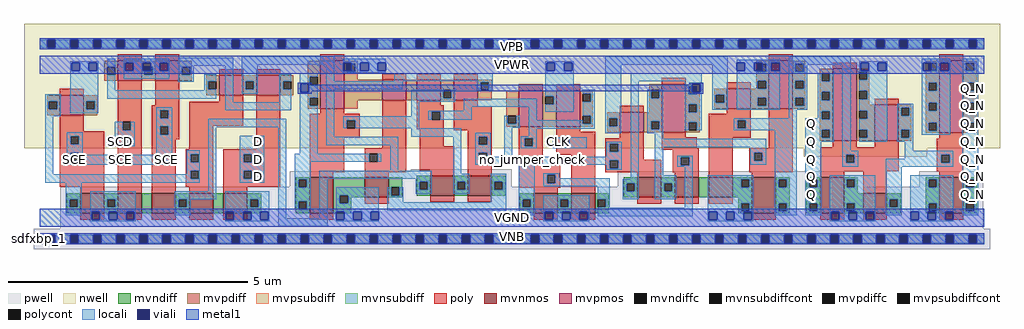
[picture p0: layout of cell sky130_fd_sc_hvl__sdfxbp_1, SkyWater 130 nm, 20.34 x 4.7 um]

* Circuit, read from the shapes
.subckt sky130_fd_sc_hvl__sdfxbp_1 CLK D SCD SCE VGND VNB VPB VPWR Q Q_N
XM1 VGND SCE n1 VNB sky130_fd_pr__nfet_g5v0d10v5 w=0.42 l=0.5
XM2 n2 SCD VGND VNB sky130_fd_pr__nfet_g5v0d10v5 w=0.42 l=0.5
XM3 n3 SCE n2 VNB sky130_fd_pr__nfet_g5v0d10v5 w=0.42 l=0.5
XM4 n4 n1 n3 VNB sky130_fd_pr__nfet_g5v0d10v5 w=0.42 l=0.5
XM5 VGND D n4 VNB sky130_fd_pr__nfet_g5v0d10v5 w=0.42 l=0.5
XM6 VGND n5 n6 VNB sky130_fd_pr__nfet_g5v0d10v5 w=0.75 l=0.5
XM7 n7 n6 VGND VNB sky130_fd_pr__nfet_g5v0d10v5 w=0.42 l=0.5
XM8 n5 n8 n3 VNB sky130_fd_pr__nfet_g5v0d10v5 w=0.42 l=0.5
XM9 n7 n9 n5 VNB sky130_fd_pr__nfet_g5v0d10v5 w=0.42 l=0.5
XM10 VGND n8 n9 VNB sky130_fd_pr__nfet_g5v0d10v5 w=0.42 l=0.5
XM11 n8 CLK VGND VNB sky130_fd_pr__nfet_g5v0d10v5 w=0.42 l=0.5
XM12 n10 n9 n6 VNB sky130_fd_pr__nfet_g5v0d10v5 w=0.42 l=0.5
XM13 n11 n8 n10 VNB sky130_fd_pr__nfet_g5v0d10v5 w=0.42 l=0.5
XM14 VGND n12 n11 VNB sky130_fd_pr__nfet_g5v0d10v5 w=0.42 l=0.5
XM15 n12 n10 VGND VNB sky130_fd_pr__nfet_g5v0d10v5 w=0.75 l=0.5
XM16 VGND n12 Q VNB sky130_fd_pr__nfet_g5v0d10v5 w=0.75 l=0.5
XM17 n13 n12 VGND VNB sky130_fd_pr__nfet_g5v0d10v5 w=0.42 l=0.5
XM18 Q_N n13 VGND VNB sky130_fd_pr__nfet_g5v0d10v5 w=0.75 l=0.5
XM19 VPWR SCE n1 VPB sky130_fd_pr__pfet_g5v0d10v5 w=0.42 l=0.5
XM20 VPWR SCD n14 VPB sky130_fd_pr__pfet_g5v0d10v5 w=0.42 l=0.5
XM21 n15 SCE VPWR VPB sky130_fd_pr__pfet_g5v0d10v5 w=0.42 l=0.5
XM22 n3 n1 n14 VPB sky130_fd_pr__pfet_g5v0d10v5 w=0.42 l=0.5
XM23 n15 D n3 VPB sky130_fd_pr__pfet_g5v0d10v5 w=0.42 l=0.5
XM24 VPWR n5 n6 VPB sky130_fd_pr__pfet_g5v0d10v5 w=1 l=0.5
XM25 n16 n6 VPWR VPB sky130_fd_pr__pfet_g5v0d10v5 w=0.42 l=0.5
XM26 n5 n8 n16 VPB sky130_fd_pr__pfet_g5v0d10v5 w=0.42 l=0.5
XM27 n3 n9 n5 VPB sky130_fd_pr__pfet_g5v0d10v5 w=0.42 l=0.5
XM28 VPWR n8 n9 VPB sky130_fd_pr__pfet_g5v0d10v5 w=0.75 l=0.5
XM29 n8 CLK VPWR VPB sky130_fd_pr__pfet_g5v0d10v5 w=0.75 l=0.5
XM30 n10 n9 n17 VPB sky130_fd_pr__pfet_g5v0d10v5 w=0.42 l=0.5
XM31 n6 n8 n10 VPB sky130_fd_pr__pfet_g5v0d10v5 w=1 l=0.5
XM32 VPWR n12 n17 VPB sky130_fd_pr__pfet_g5v0d10v5 w=0.42 l=0.5
XM33 n12 n10 VPWR VPB sky130_fd_pr__pfet_g5v0d10v5 w=1 l=0.5
XM34 VPWR n12 Q VPB sky130_fd_pr__pfet_g5v0d10v5 w=1.5 l=0.5
XM35 n13 n12 VPWR VPB sky130_fd_pr__pfet_g5v0d10v5 w=0.75 l=0.5
XM36 Q_N n13 VPWR VPB sky130_fd_pr__pfet_g5v0d10v5 w=1.5 l=0.5
.ends

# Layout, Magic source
magic
tech sky130B
magscale 1 2
<< nwell >>
rect -66 377 4002 897
rect 3185 343 3698 377
<< pwell >>
rect 1545 283 1967 290
rect 1041 217 1967 283
rect 2408 217 3435 283
rect 3666 217 3932 283
rect 86 43 3932 217
rect -26 -43 3962 43
<< mvnmos >>
rect 169 107 269 191
rect 325 107 425 191
rect 467 107 567 191
rect 623 107 723 191
rect 765 107 865 191
rect 1124 107 1224 257
rect 1354 173 1454 257
rect 1628 180 1728 264
rect 1784 180 1884 264
rect 2058 107 2158 191
rect 2214 107 2314 191
rect 2491 173 2591 257
rect 2647 173 2747 257
rect 2789 173 2889 257
rect 2968 107 3068 257
rect 3252 107 3352 257
rect 3431 107 3531 191
rect 3749 107 3849 257
<< mvpmos >>
rect 325 659 425 743
rect 481 659 581 743
rect 83 515 183 599
rect 747 598 847 682
rect 903 598 1003 682
rect 1169 543 1269 743
rect 1428 579 1528 663
rect 1570 579 1670 663
rect 1726 579 1826 663
rect 1996 468 2096 618
rect 2152 468 2252 618
rect 2418 445 2518 529
rect 2593 445 2693 645
rect 2863 543 2963 627
rect 3038 543 3138 743
rect 3304 409 3404 709
rect 3479 409 3579 559
rect 3749 443 3849 743
<< mvndiff >>
rect 1067 249 1124 257
rect 1067 215 1079 249
rect 1113 215 1124 249
rect 112 166 169 191
rect 112 132 124 166
rect 158 132 169 166
rect 112 107 169 132
rect 269 166 325 191
rect 269 132 280 166
rect 314 132 325 166
rect 269 107 325 132
rect 425 107 467 191
rect 567 166 623 191
rect 567 132 578 166
rect 612 132 623 166
rect 567 107 623 132
rect 723 107 765 191
rect 865 166 922 191
rect 865 132 876 166
rect 910 132 922 166
rect 865 107 922 132
rect 1067 157 1124 215
rect 1067 123 1079 157
rect 1113 123 1124 157
rect 1067 107 1124 123
rect 1224 182 1354 257
rect 1224 148 1251 182
rect 1285 173 1354 182
rect 1454 215 1511 257
rect 1454 181 1465 215
rect 1499 181 1511 215
rect 1454 173 1511 181
rect 1571 239 1628 264
rect 1571 205 1583 239
rect 1617 205 1628 239
rect 1571 180 1628 205
rect 1728 239 1784 264
rect 1728 205 1739 239
rect 1773 205 1784 239
rect 1728 180 1784 205
rect 1884 239 1941 264
rect 1884 205 1895 239
rect 1929 205 1941 239
rect 1884 180 1941 205
rect 2434 232 2491 257
rect 2434 198 2446 232
rect 2480 198 2491 232
rect 1285 148 1297 173
rect 1224 107 1297 148
rect 2001 166 2058 191
rect 2001 132 2013 166
rect 2047 132 2058 166
rect 2001 107 2058 132
rect 2158 166 2214 191
rect 2158 132 2169 166
rect 2203 132 2214 166
rect 2158 107 2214 132
rect 2314 166 2371 191
rect 2434 173 2491 198
rect 2591 232 2647 257
rect 2591 198 2602 232
rect 2636 198 2647 232
rect 2591 173 2647 198
rect 2747 173 2789 257
rect 2889 249 2968 257
rect 2889 215 2923 249
rect 2957 215 2968 249
rect 2889 173 2968 215
rect 2314 132 2325 166
rect 2359 132 2371 166
rect 2911 149 2968 173
rect 2314 107 2371 132
rect 2911 115 2923 149
rect 2957 115 2968 149
rect 2911 107 2968 115
rect 3068 249 3125 257
rect 3068 215 3079 249
rect 3113 215 3125 249
rect 3068 149 3125 215
rect 3068 115 3079 149
rect 3113 115 3125 149
rect 3068 107 3125 115
rect 3195 249 3252 257
rect 3195 215 3207 249
rect 3241 215 3252 249
rect 3195 149 3252 215
rect 3195 115 3207 149
rect 3241 115 3252 149
rect 3195 107 3252 115
rect 3352 249 3409 257
rect 3352 215 3363 249
rect 3397 215 3409 249
rect 3352 191 3409 215
rect 3692 249 3749 257
rect 3692 215 3704 249
rect 3738 215 3749 249
rect 3352 149 3431 191
rect 3352 115 3363 149
rect 3397 115 3431 149
rect 3352 107 3431 115
rect 3531 166 3588 191
rect 3531 132 3542 166
rect 3576 132 3588 166
rect 3531 107 3588 132
rect 3692 149 3749 215
rect 3692 115 3704 149
rect 3738 115 3749 149
rect 3692 107 3749 115
rect 3849 249 3906 257
rect 3849 215 3860 249
rect 3894 215 3906 249
rect 3849 149 3906 215
rect 3849 115 3860 149
rect 3894 115 3906 149
rect 3849 107 3906 115
<< mvpdiff >>
rect 268 718 325 743
rect 268 684 280 718
rect 314 684 325 718
rect 268 659 325 684
rect 425 718 481 743
rect 425 684 436 718
rect 470 684 481 718
rect 425 659 481 684
rect 581 718 634 743
rect 581 684 592 718
rect 626 684 634 718
rect 581 659 634 684
rect 30 574 83 599
rect 30 540 38 574
rect 72 540 83 574
rect 30 515 83 540
rect 183 574 240 599
rect 183 540 194 574
rect 228 540 240 574
rect 183 515 240 540
rect 694 657 747 682
rect 694 623 702 657
rect 736 623 747 657
rect 694 598 747 623
rect 847 657 903 682
rect 847 623 858 657
rect 892 623 903 657
rect 847 598 903 623
rect 1003 657 1056 682
rect 1003 623 1014 657
rect 1048 623 1056 657
rect 1003 598 1056 623
rect 1116 675 1169 743
rect 1116 641 1124 675
rect 1158 641 1169 675
rect 1116 589 1169 641
rect 1116 555 1124 589
rect 1158 555 1169 589
rect 1116 543 1169 555
rect 1269 731 1326 743
rect 1269 697 1280 731
rect 1314 697 1326 731
rect 1269 663 1326 697
rect 2985 731 3038 743
rect 2985 697 2993 731
rect 3027 697 3038 731
rect 1269 579 1428 663
rect 1528 579 1570 663
rect 1670 621 1726 663
rect 1670 587 1681 621
rect 1715 587 1726 621
rect 1670 579 1726 587
rect 1826 654 1883 663
rect 1826 620 1837 654
rect 1871 620 1883 654
rect 2985 660 3038 697
rect 1826 579 1883 620
rect 2540 621 2593 645
rect 1269 543 1326 579
rect 1943 514 1996 618
rect 1943 480 1951 514
rect 1985 480 1996 514
rect 1943 468 1996 480
rect 2096 595 2152 618
rect 2096 561 2107 595
rect 2141 561 2152 595
rect 2096 468 2152 561
rect 2252 606 2305 618
rect 2252 572 2263 606
rect 2297 572 2305 606
rect 2252 514 2305 572
rect 2540 587 2548 621
rect 2582 587 2593 621
rect 2540 529 2593 587
rect 2252 480 2263 514
rect 2297 480 2305 514
rect 2252 468 2305 480
rect 2365 504 2418 529
rect 2365 470 2373 504
rect 2407 470 2418 504
rect 2365 445 2418 470
rect 2518 491 2593 529
rect 2518 457 2548 491
rect 2582 457 2593 491
rect 2518 445 2593 457
rect 2693 637 2750 645
rect 2693 603 2704 637
rect 2738 603 2750 637
rect 2985 627 2993 660
rect 2693 562 2750 603
rect 2693 528 2704 562
rect 2738 528 2750 562
rect 2810 602 2863 627
rect 2810 568 2818 602
rect 2852 568 2863 602
rect 2810 543 2863 568
rect 2963 626 2993 627
rect 3027 626 3038 660
rect 2963 589 3038 626
rect 2963 555 2993 589
rect 3027 555 3038 589
rect 2963 543 3038 555
rect 3138 731 3191 743
rect 3692 735 3749 743
rect 3138 697 3149 731
rect 3183 697 3191 731
rect 3138 660 3191 697
rect 3138 626 3149 660
rect 3183 626 3191 660
rect 3138 589 3191 626
rect 3138 555 3149 589
rect 3183 555 3191 589
rect 3138 543 3191 555
rect 3251 691 3304 709
rect 3251 657 3259 691
rect 3293 657 3304 691
rect 3251 613 3304 657
rect 3251 579 3259 613
rect 3293 579 3304 613
rect 2693 487 2750 528
rect 2693 453 2704 487
rect 2738 453 2750 487
rect 2693 445 2750 453
rect 3251 533 3304 579
rect 3251 499 3259 533
rect 3293 499 3304 533
rect 3251 455 3304 499
rect 3251 421 3259 455
rect 3293 421 3304 455
rect 3251 409 3304 421
rect 3404 697 3457 709
rect 3404 663 3415 697
rect 3449 663 3457 697
rect 3404 617 3457 663
rect 3404 583 3415 617
rect 3449 583 3457 617
rect 3692 701 3704 735
rect 3738 701 3749 735
rect 3692 652 3749 701
rect 3692 618 3704 652
rect 3738 618 3749 652
rect 3404 559 3457 583
rect 3692 568 3749 618
rect 3404 535 3479 559
rect 3404 501 3415 535
rect 3449 501 3479 535
rect 3404 455 3479 501
rect 3404 421 3415 455
rect 3449 421 3479 455
rect 3404 409 3479 421
rect 3579 547 3632 559
rect 3579 513 3590 547
rect 3624 513 3632 547
rect 3579 455 3632 513
rect 3579 421 3590 455
rect 3624 421 3632 455
rect 3692 534 3704 568
rect 3738 534 3749 568
rect 3692 485 3749 534
rect 3692 451 3704 485
rect 3738 451 3749 485
rect 3692 443 3749 451
rect 3849 735 3906 743
rect 3849 701 3860 735
rect 3894 701 3906 735
rect 3849 652 3906 701
rect 3849 618 3860 652
rect 3894 618 3906 652
rect 3849 568 3906 618
rect 3849 534 3860 568
rect 3894 534 3906 568
rect 3849 485 3906 534
rect 3849 451 3860 485
rect 3894 451 3906 485
rect 3849 443 3906 451
rect 3579 409 3632 421
<< mvndiffc >>
rect 1079 215 1113 249
rect 124 132 158 166
rect 280 132 314 166
rect 578 132 612 166
rect 876 132 910 166
rect 1079 123 1113 157
rect 1251 148 1285 182
rect 1465 181 1499 215
rect 1583 205 1617 239
rect 1739 205 1773 239
rect 1895 205 1929 239
rect 2446 198 2480 232
rect 2013 132 2047 166
rect 2169 132 2203 166
rect 2602 198 2636 232
rect 2923 215 2957 249
rect 2325 132 2359 166
rect 2923 115 2957 149
rect 3079 215 3113 249
rect 3079 115 3113 149
rect 3207 215 3241 249
rect 3207 115 3241 149
rect 3363 215 3397 249
rect 3704 215 3738 249
rect 3363 115 3397 149
rect 3542 132 3576 166
rect 3704 115 3738 149
rect 3860 215 3894 249
rect 3860 115 3894 149
<< mvpdiffc >>
rect 280 684 314 718
rect 436 684 470 718
rect 592 684 626 718
rect 38 540 72 574
rect 194 540 228 574
rect 702 623 736 657
rect 858 623 892 657
rect 1014 623 1048 657
rect 1124 641 1158 675
rect 1124 555 1158 589
rect 1280 697 1314 731
rect 2993 697 3027 731
rect 1681 587 1715 621
rect 1837 620 1871 654
rect 1951 480 1985 514
rect 2107 561 2141 595
rect 2263 572 2297 606
rect 2548 587 2582 621
rect 2263 480 2297 514
rect 2373 470 2407 504
rect 2548 457 2582 491
rect 2704 603 2738 637
rect 2704 528 2738 562
rect 2818 568 2852 602
rect 2993 626 3027 660
rect 2993 555 3027 589
rect 3149 697 3183 731
rect 3149 626 3183 660
rect 3149 555 3183 589
rect 3259 657 3293 691
rect 3259 579 3293 613
rect 2704 453 2738 487
rect 3259 499 3293 533
rect 3259 421 3293 455
rect 3415 663 3449 697
rect 3415 583 3449 617
rect 3704 701 3738 735
rect 3704 618 3738 652
rect 3415 501 3449 535
rect 3415 421 3449 455
rect 3590 513 3624 547
rect 3590 421 3624 455
rect 3704 534 3738 568
rect 3704 451 3738 485
rect 3860 701 3894 735
rect 3860 618 3894 652
rect 3860 534 3894 568
rect 3860 451 3894 485
<< mvpsubdiff >>
rect 0 -17 31 17
rect 65 -17 127 17
rect 161 -17 223 17
rect 257 -17 319 17
rect 353 -17 415 17
rect 449 -17 511 17
rect 545 -17 607 17
rect 641 -17 703 17
rect 737 -17 799 17
rect 833 -17 895 17
rect 929 -17 991 17
rect 1025 -17 1087 17
rect 1121 -17 1183 17
rect 1217 -17 1279 17
rect 1313 -17 1375 17
rect 1409 -17 1471 17
rect 1505 -17 1567 17
rect 1601 -17 1663 17
rect 1697 -17 1759 17
rect 1793 -17 1855 17
rect 1889 -17 1951 17
rect 1985 -17 2047 17
rect 2081 -17 2143 17
rect 2177 -17 2239 17
rect 2273 -17 2335 17
rect 2369 -17 2431 17
rect 2465 -17 2527 17
rect 2561 -17 2623 17
rect 2657 -17 2719 17
rect 2753 -17 2815 17
rect 2849 -17 2911 17
rect 2945 -17 3007 17
rect 3041 -17 3103 17
rect 3137 -17 3199 17
rect 3233 -17 3295 17
rect 3329 -17 3391 17
rect 3425 -17 3487 17
rect 3521 -17 3583 17
rect 3617 -17 3679 17
rect 3713 -17 3775 17
rect 3809 -17 3871 17
rect 3905 -17 3936 17
<< mvnsubdiff >>
rect 0 797 31 831
rect 65 797 127 831
rect 161 797 223 831
rect 257 797 319 831
rect 353 797 415 831
rect 449 797 511 831
rect 545 797 607 831
rect 641 797 703 831
rect 737 797 799 831
rect 833 797 895 831
rect 929 797 991 831
rect 1025 797 1087 831
rect 1121 797 1183 831
rect 1217 797 1279 831
rect 1313 797 1375 831
rect 1409 797 1471 831
rect 1505 797 1567 831
rect 1601 797 1663 831
rect 1697 797 1759 831
rect 1793 797 1855 831
rect 1889 797 1951 831
rect 1985 797 2047 831
rect 2081 797 2143 831
rect 2177 797 2239 831
rect 2273 797 2335 831
rect 2369 797 2431 831
rect 2465 797 2527 831
rect 2561 797 2623 831
rect 2657 797 2719 831
rect 2753 797 2815 831
rect 2849 797 2911 831
rect 2945 797 3007 831
rect 3041 797 3103 831
rect 3137 797 3199 831
rect 3233 797 3295 831
rect 3329 797 3391 831
rect 3425 797 3487 831
rect 3521 797 3583 831
rect 3617 797 3679 831
rect 3713 797 3775 831
rect 3809 797 3871 831
rect 3905 797 3936 831
<< mvpsubdiffcont >>
rect 31 -17 65 17
rect 127 -17 161 17
rect 223 -17 257 17
rect 319 -17 353 17
rect 415 -17 449 17
rect 511 -17 545 17
rect 607 -17 641 17
rect 703 -17 737 17
rect 799 -17 833 17
rect 895 -17 929 17
rect 991 -17 1025 17
rect 1087 -17 1121 17
rect 1183 -17 1217 17
rect 1279 -17 1313 17
rect 1375 -17 1409 17
rect 1471 -17 1505 17
rect 1567 -17 1601 17
rect 1663 -17 1697 17
rect 1759 -17 1793 17
rect 1855 -17 1889 17
rect 1951 -17 1985 17
rect 2047 -17 2081 17
rect 2143 -17 2177 17
rect 2239 -17 2273 17
rect 2335 -17 2369 17
rect 2431 -17 2465 17
rect 2527 -17 2561 17
rect 2623 -17 2657 17
rect 2719 -17 2753 17
rect 2815 -17 2849 17
rect 2911 -17 2945 17
rect 3007 -17 3041 17
rect 3103 -17 3137 17
rect 3199 -17 3233 17
rect 3295 -17 3329 17
rect 3391 -17 3425 17
rect 3487 -17 3521 17
rect 3583 -17 3617 17
rect 3679 -17 3713 17
rect 3775 -17 3809 17
rect 3871 -17 3905 17
<< mvnsubdiffcont >>
rect 31 797 65 831
rect 127 797 161 831
rect 223 797 257 831
rect 319 797 353 831
rect 415 797 449 831
rect 511 797 545 831
rect 607 797 641 831
rect 703 797 737 831
rect 799 797 833 831
rect 895 797 929 831
rect 991 797 1025 831
rect 1087 797 1121 831
rect 1183 797 1217 831
rect 1279 797 1313 831
rect 1375 797 1409 831
rect 1471 797 1505 831
rect 1567 797 1601 831
rect 1663 797 1697 831
rect 1759 797 1793 831
rect 1855 797 1889 831
rect 1951 797 1985 831
rect 2047 797 2081 831
rect 2143 797 2177 831
rect 2239 797 2273 831
rect 2335 797 2369 831
rect 2431 797 2465 831
rect 2527 797 2561 831
rect 2623 797 2657 831
rect 2719 797 2753 831
rect 2815 797 2849 831
rect 2911 797 2945 831
rect 3007 797 3041 831
rect 3103 797 3137 831
rect 3199 797 3233 831
rect 3295 797 3329 831
rect 3391 797 3425 831
rect 3487 797 3521 831
rect 3583 797 3617 831
rect 3679 797 3713 831
rect 3775 797 3809 831
rect 3871 797 3905 831
<< poly >>
rect 325 743 425 769
rect 481 743 581 769
rect 1169 743 1269 769
rect 3038 743 3138 769
rect 3749 743 3849 769
rect 747 682 847 708
rect 903 682 1003 708
rect 83 599 183 625
rect 83 448 183 515
rect 325 488 425 659
rect 481 557 581 659
rect 747 572 847 598
rect 325 454 345 488
rect 379 454 425 488
rect 83 428 269 448
rect 83 394 129 428
rect 163 394 269 428
rect 83 360 269 394
rect 83 326 129 360
rect 163 326 269 360
rect 83 217 269 326
rect 169 191 269 217
rect 325 420 425 454
rect 325 386 345 420
rect 379 386 425 420
rect 325 191 425 386
rect 467 537 581 557
rect 467 503 501 537
rect 535 503 581 537
rect 467 469 581 503
rect 467 435 501 469
rect 535 435 581 469
rect 467 415 581 435
rect 623 472 847 572
rect 467 191 567 415
rect 623 373 723 472
rect 903 373 1003 598
rect 1428 663 1528 689
rect 1570 663 1670 689
rect 1726 663 1826 689
rect 2593 645 2693 671
rect 1996 618 2096 644
rect 2152 618 2252 644
rect 1169 521 1269 543
rect 609 353 723 373
rect 609 319 629 353
rect 663 319 723 353
rect 609 285 723 319
rect 609 251 629 285
rect 663 251 723 285
rect 609 217 723 251
rect 623 191 723 217
rect 765 353 1003 373
rect 765 319 849 353
rect 883 319 1003 353
rect 765 285 1003 319
rect 765 251 849 285
rect 883 251 1003 285
rect 1124 495 1334 521
rect 1124 461 1280 495
rect 1314 461 1334 495
rect 1124 421 1334 461
rect 1124 279 1269 421
rect 1428 379 1528 579
rect 1570 557 1670 579
rect 1570 531 1684 557
rect 1570 497 1634 531
rect 1668 497 1684 531
rect 1570 457 1684 497
rect 1354 355 1528 379
rect 1354 321 1374 355
rect 1408 321 1528 355
rect 1354 279 1528 321
rect 1584 386 1684 457
rect 1726 553 1826 579
rect 1726 453 1884 553
rect 2418 529 2518 555
rect 1784 427 1884 453
rect 1784 393 1830 427
rect 1864 393 1884 427
rect 1584 286 1728 386
rect 1124 257 1224 279
rect 1354 257 1454 279
rect 1628 264 1728 286
rect 1784 359 1884 393
rect 1784 325 1830 359
rect 1864 325 1884 359
rect 1784 264 1884 325
rect 1996 420 2096 468
rect 1996 386 2021 420
rect 2055 386 2096 420
rect 1996 309 2096 386
rect 2152 446 2252 468
rect 2152 419 2314 446
rect 2863 627 2963 653
rect 3304 709 3404 735
rect 2863 521 2963 543
rect 2789 495 2963 521
rect 2789 461 2909 495
rect 2943 461 2963 495
rect 2418 419 2518 445
rect 2152 385 2172 419
rect 2206 385 2314 419
rect 2152 351 2314 385
rect 1996 267 2169 309
rect 765 217 1003 251
rect 765 191 865 217
rect 1996 233 2115 267
rect 2149 233 2169 267
rect 1996 213 2169 233
rect 2058 191 2158 213
rect 2214 191 2314 351
rect 2356 397 2518 419
rect 2356 363 2376 397
rect 2410 363 2518 397
rect 2593 423 2693 445
rect 2593 379 2739 423
rect 2789 421 2963 461
rect 2593 372 2747 379
rect 2356 330 2518 363
rect 2639 341 2747 372
rect 2356 329 2591 330
rect 2356 295 2376 329
rect 2410 295 2591 329
rect 2356 279 2591 295
rect 2639 307 2672 341
rect 2706 307 2747 341
rect 2639 279 2747 307
rect 2491 257 2591 279
rect 2647 257 2747 279
rect 2789 257 2889 421
rect 3038 379 3138 543
rect 3479 559 3579 585
rect 3749 417 3849 443
rect 3304 383 3404 409
rect 3479 383 3579 409
rect 2957 359 3138 379
rect 2957 325 2977 359
rect 3011 325 3138 359
rect 2957 279 3138 325
rect 3252 351 3579 383
rect 3252 317 3361 351
rect 3395 317 3579 351
rect 3252 283 3579 317
rect 3738 351 3849 417
rect 3738 317 3758 351
rect 3792 317 3849 351
rect 3738 283 3849 317
rect 2968 257 3068 279
rect 3252 257 3352 283
rect 1354 147 1454 173
rect 1628 154 1728 180
rect 1784 154 1884 180
rect 2491 147 2591 173
rect 2647 147 2747 173
rect 2789 147 2889 173
rect 3431 191 3531 283
rect 3749 257 3849 283
rect 169 81 269 107
rect 325 81 425 107
rect 467 81 567 107
rect 623 81 723 107
rect 765 81 865 107
rect 1124 81 1224 107
rect 2058 81 2158 107
rect 2214 81 2314 107
rect 2968 81 3068 107
rect 3252 81 3352 107
rect 3431 81 3531 107
rect 3749 81 3849 107
<< polycont >>
rect 345 454 379 488
rect 129 394 163 428
rect 129 326 163 360
rect 345 386 379 420
rect 501 503 535 537
rect 501 435 535 469
rect 629 319 663 353
rect 629 251 663 285
rect 849 319 883 353
rect 849 251 883 285
rect 1280 461 1314 495
rect 1634 497 1668 531
rect 1374 321 1408 355
rect 1830 393 1864 427
rect 1830 325 1864 359
rect 2021 386 2055 420
rect 2909 461 2943 495
rect 2172 385 2206 419
rect 2115 233 2149 267
rect 2376 363 2410 397
rect 2376 295 2410 329
rect 2672 307 2706 341
rect 2977 325 3011 359
rect 3361 317 3395 351
rect 3758 317 3792 351
<< locali >>
rect 0 797 31 831
rect 65 797 127 831
rect 161 797 223 831
rect 257 797 319 831
rect 353 797 415 831
rect 449 797 511 831
rect 545 797 607 831
rect 641 797 703 831
rect 737 797 799 831
rect 833 797 895 831
rect 929 797 991 831
rect 1025 797 1087 831
rect 1121 797 1183 831
rect 1217 797 1279 831
rect 1313 797 1375 831
rect 1409 797 1471 831
rect 1505 797 1567 831
rect 1601 797 1663 831
rect 1697 797 1759 831
rect 1793 797 1855 831
rect 1889 797 1951 831
rect 1985 797 2047 831
rect 2081 797 2143 831
rect 2177 797 2239 831
rect 2273 797 2335 831
rect 2369 797 2431 831
rect 2465 797 2527 831
rect 2561 797 2623 831
rect 2657 797 2719 831
rect 2753 797 2815 831
rect 2849 797 2911 831
rect 2945 797 3007 831
rect 3041 797 3103 831
rect 3137 797 3199 831
rect 3233 797 3295 831
rect 3329 797 3391 831
rect 3425 797 3487 831
rect 3521 797 3583 831
rect 3617 797 3679 831
rect 3713 797 3775 831
rect 3809 797 3871 831
rect 3905 797 3936 831
rect 126 735 244 741
rect 126 701 132 735
rect 166 701 204 735
rect 238 701 244 735
rect 22 574 88 603
rect 22 540 38 574
rect 72 540 88 574
rect 22 511 88 540
rect 126 574 244 701
rect 280 718 314 751
rect 280 619 314 684
rect 350 735 540 751
rect 350 701 356 735
rect 390 701 428 735
rect 462 718 500 735
rect 470 701 500 718
rect 534 701 540 735
rect 350 684 436 701
rect 470 684 540 701
rect 350 667 540 684
rect 576 722 806 756
rect 576 718 642 722
rect 576 684 592 718
rect 626 684 642 718
rect 576 655 642 684
rect 686 657 736 686
rect 686 623 702 657
rect 686 619 736 623
rect 280 585 736 619
rect 126 540 194 574
rect 228 540 244 574
rect 772 570 806 722
rect 842 727 1228 761
rect 842 657 908 727
rect 842 623 858 657
rect 892 623 908 657
rect 842 606 908 623
rect 998 657 1048 686
rect 998 623 1014 657
rect 998 570 1048 623
rect 126 524 244 540
rect 485 537 551 549
rect 22 269 56 511
rect 485 503 501 537
rect 535 503 551 537
rect 772 536 1048 570
rect 1084 675 1158 691
rect 1084 646 1124 675
rect 1084 612 1087 646
rect 1121 641 1124 646
rect 1121 612 1158 641
rect 1084 589 1158 612
rect 1084 555 1124 589
rect 313 454 345 488
rect 379 454 395 488
rect 113 428 179 444
rect 113 394 129 428
rect 163 394 179 428
rect 113 360 179 394
rect 313 420 395 454
rect 313 386 345 420
rect 379 386 395 420
rect 485 469 551 503
rect 485 435 501 469
rect 535 435 551 469
rect 113 326 129 360
rect 163 350 179 360
rect 485 350 551 435
rect 702 466 1027 500
rect 163 326 551 350
rect 113 310 551 326
rect 613 353 666 369
rect 613 319 629 353
rect 663 319 666 353
rect 613 285 666 319
rect 613 269 629 285
rect 22 251 629 269
rect 663 251 666 285
rect 22 235 666 251
rect 108 166 174 235
rect 702 199 736 466
rect 833 353 935 430
rect 833 319 849 353
rect 883 319 935 353
rect 833 285 935 319
rect 833 251 849 285
rect 883 251 935 285
rect 833 235 935 251
rect 108 132 124 166
rect 158 132 174 166
rect 108 99 174 132
rect 210 166 400 199
rect 210 132 280 166
rect 314 132 400 166
rect 210 113 400 132
rect 210 79 216 113
rect 250 79 288 113
rect 322 79 360 113
rect 394 79 400 113
rect 562 166 736 199
rect 562 132 578 166
rect 612 165 736 166
rect 772 166 957 199
rect 612 132 628 165
rect 562 99 628 132
rect 772 132 876 166
rect 910 132 957 166
rect 772 113 957 132
rect 210 73 400 79
rect 772 79 775 113
rect 809 79 847 113
rect 881 79 919 113
rect 953 79 957 113
rect 772 73 957 79
rect 993 87 1027 466
rect 1084 355 1158 555
rect 1194 657 1228 727
rect 1264 735 1442 751
rect 1298 731 1336 735
rect 1314 701 1336 731
rect 1370 701 1408 735
rect 1264 697 1280 701
rect 1314 697 1442 701
rect 1264 693 1442 697
rect 2107 735 2225 741
rect 2107 701 2113 735
rect 2147 701 2185 735
rect 2219 701 2225 735
rect 1478 657 1887 691
rect 1194 623 1512 657
rect 1821 654 1887 657
rect 1194 425 1228 623
rect 1548 587 1681 621
rect 1715 587 1731 621
rect 1821 620 1837 654
rect 1871 620 1887 654
rect 1548 571 1731 587
rect 2107 595 2225 701
rect 2357 727 2868 761
rect 1548 511 1582 571
rect 1767 550 2071 584
rect 1767 535 1801 550
rect 1264 495 1582 511
rect 1618 531 1801 535
rect 1618 497 1634 531
rect 1668 497 1801 531
rect 1264 461 1280 495
rect 1314 461 1582 495
rect 1935 480 1951 514
rect 1985 480 2001 514
rect 1935 464 2001 480
rect 2037 494 2071 550
rect 2141 561 2225 595
rect 2107 530 2225 561
rect 2263 606 2313 622
rect 2297 572 2313 606
rect 2263 514 2313 572
rect 2037 480 2263 494
rect 2297 480 2313 514
rect 1548 427 1757 461
rect 1194 391 1494 425
rect 1063 321 1374 355
rect 1408 321 1424 355
rect 1063 249 1129 321
rect 1460 285 1494 391
rect 1063 215 1079 249
rect 1113 215 1129 249
rect 1063 157 1129 215
rect 1063 123 1079 157
rect 1113 123 1129 157
rect 1165 251 1633 285
rect 1165 87 1199 251
rect 1567 239 1633 251
rect 993 53 1199 87
rect 1235 182 1413 215
rect 1235 148 1251 182
rect 1285 148 1413 182
rect 1235 113 1413 148
rect 1449 181 1465 215
rect 1499 181 1515 215
rect 1567 205 1583 239
rect 1617 205 1633 239
rect 1567 188 1633 205
rect 1723 272 1757 427
rect 1814 427 1880 443
rect 1814 393 1830 427
rect 1864 393 1880 427
rect 1814 359 1880 393
rect 1814 325 1830 359
rect 1864 343 1880 359
rect 1935 343 1969 464
rect 2037 460 2313 480
rect 2357 504 2423 727
rect 2357 470 2373 504
rect 2407 470 2423 504
rect 2037 428 2071 460
rect 2357 441 2423 470
rect 2462 657 2759 691
rect 2005 420 2071 428
rect 2005 386 2021 420
rect 2055 386 2071 420
rect 2005 379 2071 386
rect 2137 419 2279 424
rect 2137 385 2172 419
rect 2206 385 2279 419
rect 2137 379 2279 385
rect 2360 397 2426 405
rect 2360 363 2376 397
rect 2410 363 2426 397
rect 2360 343 2426 363
rect 1864 329 2426 343
rect 1864 325 2376 329
rect 1814 309 2376 325
rect 1723 239 1789 272
rect 1723 205 1739 239
rect 1773 205 1789 239
rect 1723 188 1789 205
rect 1879 239 1945 272
rect 1879 205 1895 239
rect 1929 205 1945 239
rect 1449 152 1515 181
rect 1879 152 1945 205
rect 1449 118 1945 152
rect 1997 166 2063 309
rect 2360 295 2376 309
rect 2410 295 2426 329
rect 2360 289 2426 295
rect 2099 267 2165 273
rect 2099 233 2115 267
rect 2149 253 2165 267
rect 2149 233 2375 253
rect 2462 249 2496 657
rect 2688 646 2759 657
rect 2688 637 2719 646
rect 2532 587 2548 621
rect 2582 587 2598 621
rect 2532 491 2598 587
rect 2532 457 2548 491
rect 2582 457 2598 491
rect 2532 441 2598 457
rect 2688 603 2704 637
rect 2753 612 2759 646
rect 2738 603 2759 612
rect 2688 562 2759 603
rect 2688 528 2704 562
rect 2738 528 2759 562
rect 2802 602 2868 727
rect 2802 568 2818 602
rect 2852 568 2868 602
rect 2802 539 2868 568
rect 2904 735 3085 747
rect 2904 701 2905 735
rect 2939 701 2977 735
rect 3011 731 3049 735
rect 3027 701 3049 731
rect 3083 701 3085 735
rect 2904 697 2993 701
rect 3027 697 3085 701
rect 2904 660 3085 697
rect 2904 626 2993 660
rect 3027 626 3085 660
rect 2904 589 3085 626
rect 2904 555 2993 589
rect 3027 555 3085 589
rect 2904 539 3085 555
rect 3121 731 3379 761
rect 3121 697 3149 731
rect 3183 727 3379 731
rect 3183 697 3199 727
rect 3121 660 3199 697
rect 3121 626 3149 660
rect 3183 626 3199 660
rect 3121 589 3199 626
rect 3121 555 3149 589
rect 3183 555 3199 589
rect 3121 539 3199 555
rect 3243 657 3259 691
rect 3293 657 3309 691
rect 3243 613 3309 657
rect 3243 579 3259 613
rect 3293 579 3309 613
rect 2688 487 2759 528
rect 3121 503 3155 539
rect 3243 533 3309 579
rect 3243 503 3259 533
rect 2688 453 2704 487
rect 2738 453 2759 487
rect 2893 495 3155 503
rect 2893 461 2909 495
rect 2943 461 3155 495
rect 2893 453 3155 461
rect 2099 219 2375 233
rect 1997 132 2013 166
rect 2047 132 2063 166
rect 1269 79 1307 113
rect 1341 79 1379 113
rect 1997 99 2063 132
rect 2099 166 2289 183
rect 2099 132 2169 166
rect 2203 132 2289 166
rect 2099 113 2289 132
rect 1235 73 1413 79
rect 2099 79 2105 113
rect 2139 79 2177 113
rect 2211 79 2249 113
rect 2283 79 2289 113
rect 2325 166 2375 219
rect 2359 132 2375 166
rect 2430 232 2496 249
rect 2430 198 2446 232
rect 2480 198 2496 232
rect 2430 165 2496 198
rect 2564 417 2598 441
rect 2564 383 3027 417
rect 2564 265 2598 383
rect 2961 359 3027 383
rect 2656 341 2722 347
rect 2656 307 2672 341
rect 2706 307 2722 341
rect 2961 325 2977 359
rect 3011 325 3027 359
rect 2961 309 3027 325
rect 2656 301 2722 307
rect 2564 232 2652 265
rect 2564 198 2602 232
rect 2636 198 2652 232
rect 2564 165 2652 198
rect 2325 129 2375 132
rect 2688 129 2722 301
rect 2325 95 2722 129
rect 2783 249 2973 265
rect 2783 215 2923 249
rect 2957 215 2973 249
rect 2783 149 2973 215
rect 2783 115 2923 149
rect 2957 115 2973 149
rect 2783 113 2973 115
rect 2099 73 2289 79
rect 2783 79 2789 113
rect 2823 79 2861 113
rect 2895 79 2933 113
rect 2967 79 2973 113
rect 3063 249 3155 453
rect 3063 215 3079 249
rect 3113 215 3155 249
rect 3063 149 3155 215
rect 3063 115 3079 149
rect 3113 115 3155 149
rect 3063 99 3155 115
rect 3191 499 3259 503
rect 3293 499 3309 533
rect 3191 455 3309 499
rect 3191 421 3259 455
rect 3293 421 3309 455
rect 3191 405 3309 421
rect 3191 249 3257 405
rect 3345 367 3379 727
rect 3415 735 3533 741
rect 3415 701 3421 735
rect 3455 701 3493 735
rect 3527 701 3533 735
rect 3415 697 3533 701
rect 3449 663 3533 697
rect 3415 617 3533 663
rect 3449 583 3533 617
rect 3415 535 3533 583
rect 3676 735 3794 751
rect 3676 701 3682 735
rect 3738 701 3754 735
rect 3788 701 3794 735
rect 3676 652 3794 701
rect 3676 618 3704 652
rect 3738 618 3794 652
rect 3676 568 3794 618
rect 3449 501 3533 535
rect 3415 455 3533 501
rect 3449 421 3533 455
rect 3415 405 3533 421
rect 3574 547 3640 563
rect 3574 513 3590 547
rect 3624 513 3640 547
rect 3574 455 3640 513
rect 3574 421 3590 455
rect 3624 421 3640 455
rect 3676 534 3704 568
rect 3738 534 3794 568
rect 3676 485 3794 534
rect 3676 451 3704 485
rect 3738 451 3794 485
rect 3676 435 3794 451
rect 3844 735 3911 751
rect 3844 701 3860 735
rect 3894 701 3911 735
rect 3844 652 3911 701
rect 3844 618 3860 652
rect 3894 618 3911 652
rect 3844 568 3911 618
rect 3844 534 3860 568
rect 3894 534 3911 568
rect 3844 485 3911 534
rect 3844 451 3860 485
rect 3894 451 3911 485
rect 3574 405 3640 421
rect 3606 367 3640 405
rect 3345 351 3411 367
rect 3345 317 3361 351
rect 3395 317 3411 351
rect 3606 351 3808 367
rect 3606 335 3758 351
rect 3345 301 3411 317
rect 3526 317 3758 335
rect 3792 317 3808 351
rect 3526 301 3808 317
rect 3191 215 3207 249
rect 3241 215 3257 249
rect 3191 149 3257 215
rect 3191 115 3207 149
rect 3241 115 3257 149
rect 3191 99 3257 115
rect 3293 249 3483 265
rect 3293 215 3363 249
rect 3397 215 3483 249
rect 3293 149 3483 215
rect 3293 115 3363 149
rect 3397 115 3483 149
rect 3293 113 3483 115
rect 2783 73 2973 79
rect 3293 79 3299 113
rect 3333 79 3371 113
rect 3405 79 3443 113
rect 3477 79 3483 113
rect 3526 166 3592 301
rect 3526 132 3542 166
rect 3576 132 3592 166
rect 3526 99 3592 132
rect 3628 249 3808 265
rect 3628 215 3704 249
rect 3738 215 3808 249
rect 3628 149 3808 215
rect 3628 115 3704 149
rect 3738 115 3808 149
rect 3628 113 3808 115
rect 3293 73 3483 79
rect 3628 79 3629 113
rect 3663 79 3701 113
rect 3735 79 3773 113
rect 3807 79 3808 113
rect 3844 249 3911 451
rect 3844 215 3860 249
rect 3894 215 3911 249
rect 3844 149 3911 215
rect 3844 115 3860 149
rect 3894 115 3911 149
rect 3844 99 3911 115
rect 3628 73 3808 79
rect 0 -17 31 17
rect 65 -17 127 17
rect 161 -17 223 17
rect 257 -17 319 17
rect 353 -17 415 17
rect 449 -17 511 17
rect 545 -17 607 17
rect 641 -17 703 17
rect 737 -17 799 17
rect 833 -17 895 17
rect 929 -17 991 17
rect 1025 -17 1087 17
rect 1121 -17 1183 17
rect 1217 -17 1279 17
rect 1313 -17 1375 17
rect 1409 -17 1471 17
rect 1505 -17 1567 17
rect 1601 -17 1663 17
rect 1697 -17 1759 17
rect 1793 -17 1855 17
rect 1889 -17 1951 17
rect 1985 -17 2047 17
rect 2081 -17 2143 17
rect 2177 -17 2239 17
rect 2273 -17 2335 17
rect 2369 -17 2431 17
rect 2465 -17 2527 17
rect 2561 -17 2623 17
rect 2657 -17 2719 17
rect 2753 -17 2815 17
rect 2849 -17 2911 17
rect 2945 -17 3007 17
rect 3041 -17 3103 17
rect 3137 -17 3199 17
rect 3233 -17 3295 17
rect 3329 -17 3391 17
rect 3425 -17 3487 17
rect 3521 -17 3583 17
rect 3617 -17 3679 17
rect 3713 -17 3775 17
rect 3809 -17 3871 17
rect 3905 -17 3936 17
<< viali >>
rect 31 797 65 831
rect 127 797 161 831
rect 223 797 257 831
rect 319 797 353 831
rect 415 797 449 831
rect 511 797 545 831
rect 607 797 641 831
rect 703 797 737 831
rect 799 797 833 831
rect 895 797 929 831
rect 991 797 1025 831
rect 1087 797 1121 831
rect 1183 797 1217 831
rect 1279 797 1313 831
rect 1375 797 1409 831
rect 1471 797 1505 831
rect 1567 797 1601 831
rect 1663 797 1697 831
rect 1759 797 1793 831
rect 1855 797 1889 831
rect 1951 797 1985 831
rect 2047 797 2081 831
rect 2143 797 2177 831
rect 2239 797 2273 831
rect 2335 797 2369 831
rect 2431 797 2465 831
rect 2527 797 2561 831
rect 2623 797 2657 831
rect 2719 797 2753 831
rect 2815 797 2849 831
rect 2911 797 2945 831
rect 3007 797 3041 831
rect 3103 797 3137 831
rect 3199 797 3233 831
rect 3295 797 3329 831
rect 3391 797 3425 831
rect 3487 797 3521 831
rect 3583 797 3617 831
rect 3679 797 3713 831
rect 3775 797 3809 831
rect 3871 797 3905 831
rect 132 701 166 735
rect 204 701 238 735
rect 356 701 390 735
rect 428 718 462 735
rect 428 701 436 718
rect 436 701 462 718
rect 500 701 534 735
rect 1087 612 1121 646
rect 216 79 250 113
rect 288 79 322 113
rect 360 79 394 113
rect 775 79 809 113
rect 847 79 881 113
rect 919 79 953 113
rect 1264 731 1298 735
rect 1264 701 1280 731
rect 1280 701 1298 731
rect 1336 701 1370 735
rect 1408 701 1442 735
rect 2113 701 2147 735
rect 2185 701 2219 735
rect 2719 637 2753 646
rect 2719 612 2738 637
rect 2738 612 2753 637
rect 2905 701 2939 735
rect 2977 731 3011 735
rect 2977 701 2993 731
rect 2993 701 3011 731
rect 3049 701 3083 735
rect 1235 79 1269 113
rect 1307 79 1341 113
rect 1379 79 1413 113
rect 2105 79 2139 113
rect 2177 79 2211 113
rect 2249 79 2283 113
rect 2789 79 2823 113
rect 2861 79 2895 113
rect 2933 79 2967 113
rect 3421 701 3455 735
rect 3493 701 3527 735
rect 3682 701 3704 735
rect 3704 701 3716 735
rect 3754 701 3788 735
rect 3299 79 3333 113
rect 3371 79 3405 113
rect 3443 79 3477 113
rect 3629 79 3663 113
rect 3701 79 3735 113
rect 3773 79 3807 113
rect 31 -17 65 17
rect 127 -17 161 17
rect 223 -17 257 17
rect 319 -17 353 17
rect 415 -17 449 17
rect 511 -17 545 17
rect 607 -17 641 17
rect 703 -17 737 17
rect 799 -17 833 17
rect 895 -17 929 17
rect 991 -17 1025 17
rect 1087 -17 1121 17
rect 1183 -17 1217 17
rect 1279 -17 1313 17
rect 1375 -17 1409 17
rect 1471 -17 1505 17
rect 1567 -17 1601 17
rect 1663 -17 1697 17
rect 1759 -17 1793 17
rect 1855 -17 1889 17
rect 1951 -17 1985 17
rect 2047 -17 2081 17
rect 2143 -17 2177 17
rect 2239 -17 2273 17
rect 2335 -17 2369 17
rect 2431 -17 2465 17
rect 2527 -17 2561 17
rect 2623 -17 2657 17
rect 2719 -17 2753 17
rect 2815 -17 2849 17
rect 2911 -17 2945 17
rect 3007 -17 3041 17
rect 3103 -17 3137 17
rect 3199 -17 3233 17
rect 3295 -17 3329 17
rect 3391 -17 3425 17
rect 3487 -17 3521 17
rect 3583 -17 3617 17
rect 3679 -17 3713 17
rect 3775 -17 3809 17
rect 3871 -17 3905 17
<< metal1 >>
rect 0 831 3936 837
rect 0 797 31 831
rect 65 797 127 831
rect 161 797 223 831
rect 257 797 319 831
rect 353 797 415 831
rect 449 797 511 831
rect 545 797 607 831
rect 641 797 703 831
rect 737 797 799 831
rect 833 797 895 831
rect 929 797 991 831
rect 1025 797 1087 831
rect 1121 797 1183 831
rect 1217 797 1279 831
rect 1313 797 1375 831
rect 1409 797 1471 831
rect 1505 797 1567 831
rect 1601 797 1663 831
rect 1697 797 1759 831
rect 1793 797 1855 831
rect 1889 797 1951 831
rect 1985 797 2047 831
rect 2081 797 2143 831
rect 2177 797 2239 831
rect 2273 797 2335 831
rect 2369 797 2431 831
rect 2465 797 2527 831
rect 2561 797 2623 831
rect 2657 797 2719 831
rect 2753 797 2815 831
rect 2849 797 2911 831
rect 2945 797 3007 831
rect 3041 797 3103 831
rect 3137 797 3199 831
rect 3233 797 3295 831
rect 3329 797 3391 831
rect 3425 797 3487 831
rect 3521 797 3583 831
rect 3617 797 3679 831
rect 3713 797 3775 831
rect 3809 797 3871 831
rect 3905 797 3936 831
rect 0 791 3936 797
rect 0 735 3936 763
rect 0 701 132 735
rect 166 701 204 735
rect 238 701 356 735
rect 390 701 428 735
rect 462 701 500 735
rect 534 701 1264 735
rect 1298 701 1336 735
rect 1370 701 1408 735
rect 1442 701 2113 735
rect 2147 701 2185 735
rect 2219 701 2905 735
rect 2939 701 2977 735
rect 3011 701 3049 735
rect 3083 701 3421 735
rect 3455 701 3493 735
rect 3527 701 3682 735
rect 3716 701 3754 735
rect 3788 701 3936 735
rect 0 689 3936 701
rect 1075 646 1133 652
rect 1075 612 1087 646
rect 1121 643 1133 646
rect 2707 646 2765 652
rect 2707 643 2719 646
rect 1121 615 2719 643
rect 1121 612 1133 615
rect 1075 606 1133 612
rect 2707 612 2719 615
rect 2753 612 2765 646
rect 2707 606 2765 612
rect 0 113 3936 125
rect 0 79 216 113
rect 250 79 288 113
rect 322 79 360 113
rect 394 79 775 113
rect 809 79 847 113
rect 881 79 919 113
rect 953 79 1235 113
rect 1269 79 1307 113
rect 1341 79 1379 113
rect 1413 79 2105 113
rect 2139 79 2177 113
rect 2211 79 2249 113
rect 2283 79 2789 113
rect 2823 79 2861 113
rect 2895 79 2933 113
rect 2967 79 3299 113
rect 3333 79 3371 113
rect 3405 79 3443 113
rect 3477 79 3629 113
rect 3663 79 3701 113
rect 3735 79 3773 113
rect 3807 79 3936 113
rect 0 51 3936 79
rect 0 17 3936 23
rect 0 -17 31 17
rect 65 -17 127 17
rect 161 -17 223 17
rect 257 -17 319 17
rect 353 -17 415 17
rect 449 -17 511 17
rect 545 -17 607 17
rect 641 -17 703 17
rect 737 -17 799 17
rect 833 -17 895 17
rect 929 -17 991 17
rect 1025 -17 1087 17
rect 1121 -17 1183 17
rect 1217 -17 1279 17
rect 1313 -17 1375 17
rect 1409 -17 1471 17
rect 1505 -17 1567 17
rect 1601 -17 1663 17
rect 1697 -17 1759 17
rect 1793 -17 1855 17
rect 1889 -17 1951 17
rect 1985 -17 2047 17
rect 2081 -17 2143 17
rect 2177 -17 2239 17
rect 2273 -17 2335 17
rect 2369 -17 2431 17
rect 2465 -17 2527 17
rect 2561 -17 2623 17
rect 2657 -17 2719 17
rect 2753 -17 2815 17
rect 2849 -17 2911 17
rect 2945 -17 3007 17
rect 3041 -17 3103 17
rect 3137 -17 3199 17
rect 3233 -17 3295 17
rect 3329 -17 3391 17
rect 3425 -17 3487 17
rect 3521 -17 3583 17
rect 3617 -17 3679 17
rect 3713 -17 3775 17
rect 3809 -17 3871 17
rect 3905 -17 3936 17
rect 0 -23 3936 -17
<< labels >>
flabel comment s 2055 332 2055 332 0 FreeSans 200 90 0 0 no_jumper_check
rlabel comment s 0 0 0 0 4 sdfxbp_1
flabel metal1 s 0 51 3936 125 0 FreeSans 340 0 0 0 VGND
port 5 nsew ground bidirectional
flabel metal1 s 0 0 3936 23 0 FreeSans 340 0 0 0 VNB
port 6 nsew ground bidirectional
flabel metal1 s 0 689 3936 763 0 FreeSans 340 0 0 0 VPWR
port 8 nsew power bidirectional
flabel metal1 s 0 791 3936 814 0 FreeSans 340 0 0 0 VPB
port 7 nsew power bidirectional
flabel locali s 895 242 929 276 0 FreeSans 340 0 0 0 D
port 2 nsew signal input
flabel locali s 895 316 929 350 0 FreeSans 340 0 0 0 D
port 2 nsew signal input
flabel locali s 895 390 929 424 0 FreeSans 340 0 0 0 D
port 2 nsew signal input
flabel locali s 319 390 353 424 0 FreeSans 340 0 0 0 SCD
port 3 nsew signal input
flabel locali s 127 316 161 350 0 FreeSans 340 0 0 0 SCE
port 4 nsew signal input
flabel locali s 223 316 257 350 0 FreeSans 340 0 0 0 SCE
port 4 nsew signal input
flabel locali s 319 316 353 350 0 FreeSans 340 0 0 0 SCE
port 4 nsew signal input
flabel locali s 415 316 449 350 0 FreeSans 340 0 0 0 SCE
port 4 nsew signal input
flabel locali s 511 316 545 350 0 FreeSans 340 0 0 0 SCE
port 4 nsew signal input
flabel locali s 2143 390 2177 424 0 FreeSans 340 0 0 0 CLK
port 1 nsew clock input
flabel locali s 2239 390 2273 424 0 FreeSans 340 0 0 0 CLK
port 1 nsew clock input
flabel locali s 3199 168 3233 202 0 FreeSans 340 0 0 0 Q
port 9 nsew signal output
flabel locali s 3199 242 3233 276 0 FreeSans 340 0 0 0 Q
port 9 nsew signal output
flabel locali s 3199 316 3233 350 0 FreeSans 340 0 0 0 Q
port 9 nsew signal output
flabel locali s 3199 390 3233 424 0 FreeSans 340 0 0 0 Q
port 9 nsew signal output
flabel locali s 3199 464 3233 498 0 FreeSans 340 0 0 0 Q
port 9 nsew signal output
flabel locali s 3871 168 3905 202 0 FreeSans 340 0 0 0 Q_N
port 10 nsew signal output
flabel locali s 3871 242 3905 276 0 FreeSans 340 0 0 0 Q_N
port 10 nsew signal output
flabel locali s 3871 316 3905 350 0 FreeSans 340 0 0 0 Q_N
port 10 nsew signal output
flabel locali s 3871 390 3905 424 0 FreeSans 340 0 0 0 Q_N
port 10 nsew signal output
flabel locali s 3871 464 3905 498 0 FreeSans 340 0 0 0 Q_N
port 10 nsew signal output
flabel locali s 3871 538 3905 572 0 FreeSans 340 0 0 0 Q_N
port 10 nsew signal output
flabel locali s 3871 612 3905 646 0 FreeSans 340 0 0 0 Q_N
port 10 nsew signal output
<< properties >>
string FIXED_BBOX 0 0 3936 814
string GDS_END 643078
string GDS_FILE $PDKPATH/libs.ref/sky130_fd_sc_hvl/gds/sky130_fd_sc_hvl.gds
string GDS_START 605408
string LEFclass CORE
string LEFsite unithv
string LEFsymmetry X Y
<< end >>
